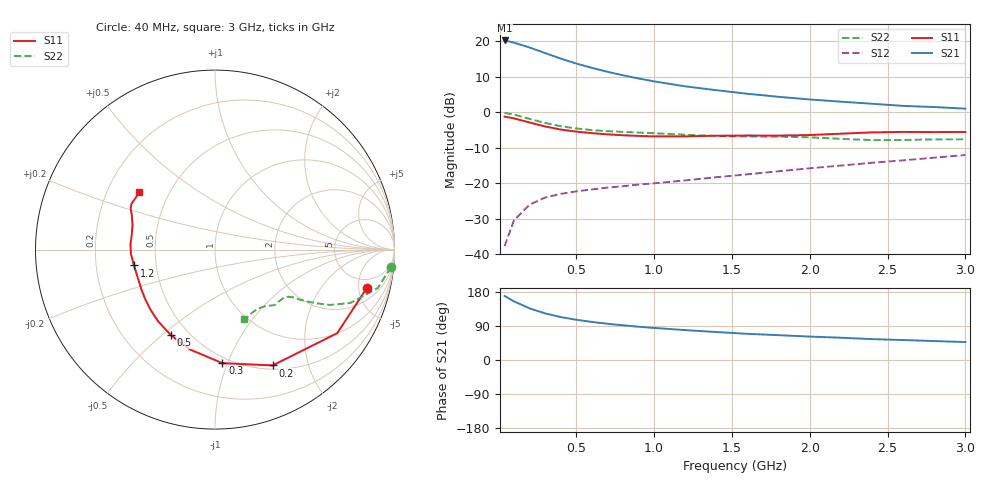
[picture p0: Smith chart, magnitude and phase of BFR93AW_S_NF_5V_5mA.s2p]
! Filename:  BFR93AWA.S2P  Version:  4.0
! Philips part #: BFR93AW  Date: Jun 1994
! Bias condition: Vce=5V, Ic=5mA
#  MHz  S  MA  R  50
! Freq  S11  S21  S12  S22  !GUM [dB]
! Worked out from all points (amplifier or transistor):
!   21 points, 40 MHz to 3 GHz, reference 50 ohm
!   highest |S21| = 20.3 dB at 40 MHz (marker M1)
!   |S21| within 3 dB of that: start of sweep to 265.1 MHz
!   unconditionally stable (mu >= 1): 995.9 MHz to end of sweep
!   at 300 MHz: K = 0.42, MSG = 20.4 dB, |S12| = -24.0 dB
!   at 1 GHz: K = 1.00, MAG = 14.1 dB, |S12| = -20.0 dB
!   at 3 GHz: K = 1.04, MAG = 5.3 dB, |S12| = -12.0 dB
!   lowest NFmin = 1.20 dB at 500 MHz
!   S11 on the Smith chart (normalised r, x): 40 MHz: 3.40, -6.12; 200 MHz: 0.55, -1.47; 300 MHz: 0.45, -0.96; 500 MHz: 0.40, -0.54; 1.2 GHz: 0.37, -0.08; 3 GHz: 0.34, +0.30
40  0.872 -14.3  10.34 168.9  0.013 81.9  0.985 -5.7
100  0.825 -34.4  9.64 154.8  0.03 71.4  0.932 -13.3
200  0.721 -63.5  8.237 136.4  0.05 59.6  0.811 -21.5
300  0.634 -86.3  6.875 123.0  0.063 52.9  0.711 -25.7
400  0.574 -103.9  5.746 113.3  0.071 49.8  0.64 -27.9
500  0.536 -117.3  4.888 106.2  0.077 48.8  0.594 -29.2
600  0.51 -128.4  4.251 100.5  0.082 49.4  0.563 -30.1
700  0.491 -137.2  3.744 95.7  0.087 50.6  0.544 -30.6
800  0.476 -145.0  3.341 91.6  0.091 52.1  0.531 -31.0
900  0.466 -151.9  3.01 87.8  0.096 53.7  0.52 -31.1
1000  0.459 -158.1  2.739 84.6  0.1 55.5  0.509 -31.5
1200  0.46 -168.9  2.333 78.9  0.11 59.2  0.484 -32.8
1400  0.469 -177.0  2.057 73.8  0.122 62.6  0.466 -35.7
1600  0.472 176.5  1.832 69.1  0.134 65.4  0.458 -39.5
1800  0.471 170.1  1.659 65.5  0.148 68.3  0.456 -42.2
2000  0.48 163.2  1.523 61.8  0.163 70.9  0.445 -44.4
2200  0.501 157.7  1.417 58.8  0.178 72.8  0.424 -47.8
2400  0.523 153.9  1.325 55.1  0.195 74.3  0.407 -53.5
2600  0.531 151.3  1.236 52.7  0.211 75.0  0.408 -59.8
2800  0.528 147.5  1.19 50.0  0.23 76.1  0.417 -64.2
3000  0.53 142.6  1.13 47.4  0.251 76.7  0.418 -67.2
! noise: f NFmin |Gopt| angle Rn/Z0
500  1.2  0.22  61.3  0.168
1000  1.9  0.25  142.8  0.23
2000  3  0.71  -154.5  0.1
